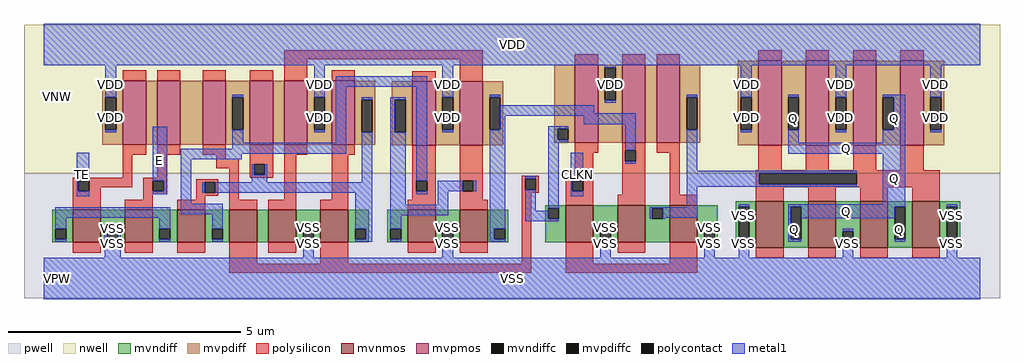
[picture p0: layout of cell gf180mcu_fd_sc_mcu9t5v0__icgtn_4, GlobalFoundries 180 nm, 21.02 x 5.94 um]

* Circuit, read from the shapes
.subckt gf180mcu_fd_sc_mcu9t5v0__icgtn_4 CLKN E TE Q VDD VNW VPW VSS
XM1 VSS TE n1 VPW nfet_06v0 w=0.7u l=0.6u
XM2 n1 E VSS VPW nfet_06v0 w=0.7u l=0.6u
XM3 n2 n3 n1 VPW nfet_06v0 w=0.7u l=0.6u
XM4 n4 n5 n2 VPW nfet_06v0 w=0.7u l=0.6u
XM5 VSS n6 n4 VPW nfet_06v0 w=0.7u l=0.6u
XM6 n3 n5 VSS VPW nfet_06v0 w=0.7u l=0.6u
XM7 VSS n2 n6 VPW nfet_06v0 w=0.7u l=0.6u
XM8 n7 n6 VSS VPW nfet_06v0 w=0.7u l=0.6u
XM9 VSS CLKN n5 VPW nfet_06v0 w=0.8u l=0.6u
XM10 n8 n7 VSS VPW nfet_06v0 w=0.8u l=0.6u
XM11 VSS CLKN n8 VPW nfet_06v0 w=0.8u l=0.6u
XM12 Q n8 VSS VPW nfet_06v0 w=1u l=0.6u m=4
XM13 n9 TE VDD VNW pfet_06v0 w=1.38u l=0.5u
XM14 n10 E n9 VNW pfet_06v0 w=1.38u l=0.5u
XM15 n2 n5 n10 VNW pfet_06v0 w=1.38u l=0.5u
XM16 n11 n3 n2 VNW pfet_06v0 w=1.38u l=0.5u
XM17 VDD n6 n11 VNW pfet_06v0 w=1.38u l=0.5u
XM18 n3 n5 VDD VNW pfet_06v0 w=1.38u l=0.5u
XM19 VDD n2 n6 VNW pfet_06v0 w=1.38u l=0.5u
XM20 n7 n6 VDD VNW pfet_06v0 w=1.38u l=0.5u
XM21 VDD CLKN n5 VNW pfet_06v0 w=1.68u l=0.5u
XM22 n12 n7 VDD VNW pfet_06v0 w=1.68u l=0.5u
XM23 n8 CLKN n12 VNW pfet_06v0 w=1.68u l=0.5u
XM24 Q n8 VDD VNW pfet_06v0 w=1.83u l=0.5u m=4
.ends

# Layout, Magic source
magic
tech gf180mcuD
magscale 1 10
<< nwell >>
rect -86 453 4118 1094
<< pwell >>
rect -86 -86 4118 453
<< mvnmos >>
rect 124 156 244 296
rect 348 156 468 296
rect 575 156 695 296
rect 799 156 919 296
rect 967 156 1087 296
rect 1191 156 1311 296
rect 1567 156 1687 296
rect 1791 156 1911 296
rect 2247 156 2367 316
rect 2471 156 2591 316
rect 2695 156 2815 316
rect 3067 133 3187 333
rect 3291 133 3411 333
rect 3515 133 3635 333
rect 3739 133 3859 333
<< mvpmos >>
rect 340 576 440 852
rect 488 576 588 852
rect 683 576 783 852
rect 887 576 987 852
rect 1035 576 1135 852
rect 1239 576 1339 852
rect 1587 573 1687 849
rect 1791 573 1891 849
rect 2287 585 2387 921
rect 2491 585 2591 921
rect 2639 585 2739 921
rect 3077 573 3177 939
rect 3281 573 3381 939
rect 3485 573 3585 939
rect 3689 573 3789 939
<< mvndiff >>
rect 36 215 124 296
rect 36 169 49 215
rect 95 169 124 215
rect 36 156 124 169
rect 244 215 348 296
rect 244 169 273 215
rect 319 169 348 215
rect 244 156 348 169
rect 468 215 575 296
rect 468 169 497 215
rect 543 169 575 215
rect 468 156 575 169
rect 695 215 799 296
rect 695 169 724 215
rect 770 169 799 215
rect 695 156 799 169
rect 919 156 967 296
rect 1087 215 1191 296
rect 1087 169 1116 215
rect 1162 169 1191 215
rect 1087 156 1191 169
rect 1311 215 1399 296
rect 1311 169 1340 215
rect 1386 169 1399 215
rect 1311 156 1399 169
rect 1479 215 1567 296
rect 1479 169 1492 215
rect 1538 169 1567 215
rect 1479 156 1567 169
rect 1687 215 1791 296
rect 1687 169 1716 215
rect 1762 169 1791 215
rect 1687 156 1791 169
rect 1911 215 1999 296
rect 1911 169 1940 215
rect 1986 169 1999 215
rect 1911 156 1999 169
rect 2159 303 2247 316
rect 2159 257 2172 303
rect 2218 257 2247 303
rect 2159 156 2247 257
rect 2367 215 2471 316
rect 2367 169 2396 215
rect 2442 169 2471 215
rect 2367 156 2471 169
rect 2591 303 2695 316
rect 2591 257 2620 303
rect 2666 257 2695 303
rect 2591 156 2695 257
rect 2815 215 2903 316
rect 2815 169 2844 215
rect 2890 169 2903 215
rect 2815 156 2903 169
rect 2979 309 3067 333
rect 2979 169 2992 309
rect 3038 169 3067 309
rect 2979 133 3067 169
rect 3187 309 3291 333
rect 3187 169 3216 309
rect 3262 169 3291 309
rect 3187 133 3291 169
rect 3411 203 3515 333
rect 3411 157 3440 203
rect 3486 157 3515 203
rect 3411 133 3515 157
rect 3635 309 3739 333
rect 3635 169 3664 309
rect 3710 169 3739 309
rect 3635 133 3739 169
rect 3859 309 3947 333
rect 3859 169 3888 309
rect 3934 169 3947 309
rect 3859 133 3947 169
<< mvpdiff >>
rect 252 781 340 852
rect 252 641 265 781
rect 311 641 340 781
rect 252 576 340 641
rect 440 576 488 852
rect 588 576 683 852
rect 783 781 887 852
rect 783 641 812 781
rect 858 641 887 781
rect 783 576 887 641
rect 987 576 1035 852
rect 1135 781 1239 852
rect 1135 641 1164 781
rect 1210 641 1239 781
rect 1135 576 1239 641
rect 1339 769 1427 852
rect 1339 629 1368 769
rect 1414 629 1427 769
rect 1339 576 1427 629
rect 1499 769 1587 849
rect 1499 629 1512 769
rect 1558 629 1587 769
rect 1499 573 1587 629
rect 1687 781 1791 849
rect 1687 641 1716 781
rect 1762 641 1791 781
rect 1687 573 1791 641
rect 1891 781 1979 849
rect 1891 641 1920 781
rect 1966 641 1979 781
rect 1891 573 1979 641
rect 2199 644 2287 921
rect 2199 598 2212 644
rect 2258 598 2287 644
rect 2199 585 2287 598
rect 2387 908 2491 921
rect 2387 768 2416 908
rect 2462 768 2491 908
rect 2387 585 2491 768
rect 2591 585 2639 921
rect 2739 781 2827 921
rect 2739 641 2768 781
rect 2814 641 2827 781
rect 2739 585 2827 641
rect 2989 781 3077 939
rect 2989 641 3002 781
rect 3048 641 3077 781
rect 2989 573 3077 641
rect 3177 781 3281 939
rect 3177 641 3206 781
rect 3252 641 3281 781
rect 3177 573 3281 641
rect 3381 781 3485 939
rect 3381 641 3410 781
rect 3456 641 3485 781
rect 3381 573 3485 641
rect 3585 781 3689 939
rect 3585 641 3614 781
rect 3660 641 3689 781
rect 3585 573 3689 641
rect 3789 781 3877 939
rect 3789 641 3818 781
rect 3864 641 3877 781
rect 3789 573 3877 641
<< mvndiffc >>
rect 49 169 95 215
rect 273 169 319 215
rect 497 169 543 215
rect 724 169 770 215
rect 1116 169 1162 215
rect 1340 169 1386 215
rect 1492 169 1538 215
rect 1716 169 1762 215
rect 1940 169 1986 215
rect 2172 257 2218 303
rect 2396 169 2442 215
rect 2620 257 2666 303
rect 2844 169 2890 215
rect 2992 169 3038 309
rect 3216 169 3262 309
rect 3440 157 3486 203
rect 3664 169 3710 309
rect 3888 169 3934 309
<< mvpdiffc >>
rect 265 641 311 781
rect 812 641 858 781
rect 1164 641 1210 781
rect 1368 629 1414 769
rect 1512 629 1558 769
rect 1716 641 1762 781
rect 1920 641 1966 781
rect 2212 598 2258 644
rect 2416 768 2462 908
rect 2768 641 2814 781
rect 3002 641 3048 781
rect 3206 641 3252 781
rect 3410 641 3456 781
rect 3614 641 3660 781
rect 3818 641 3864 781
<< polysilicon >>
rect 1035 944 1891 984
rect 340 852 440 896
rect 488 852 588 896
rect 683 852 783 896
rect 887 852 987 896
rect 1035 852 1135 944
rect 1239 852 1339 896
rect 1587 849 1687 893
rect 1791 849 1891 944
rect 2287 921 2387 965
rect 2491 921 2591 965
rect 2639 921 2739 965
rect 3077 939 3177 983
rect 3281 939 3381 983
rect 3485 939 3585 983
rect 3689 939 3789 983
rect 340 532 440 576
rect 488 532 588 576
rect 683 532 783 576
rect 340 434 380 532
rect 488 434 528 532
rect 743 516 783 532
rect 743 476 839 516
rect 124 421 380 434
rect 124 375 148 421
rect 194 394 380 421
rect 428 421 528 434
rect 194 375 244 394
rect 124 296 244 375
rect 428 375 469 421
rect 515 375 528 421
rect 428 362 528 375
rect 655 415 751 428
rect 655 369 692 415
rect 738 369 751 415
rect 428 340 468 362
rect 655 356 751 369
rect 655 340 695 356
rect 348 296 468 340
rect 575 296 695 340
rect 799 340 839 476
rect 887 492 987 576
rect 887 446 905 492
rect 951 446 987 492
rect 887 433 987 446
rect 1035 532 1135 576
rect 1239 532 1339 576
rect 1035 340 1087 532
rect 1239 340 1311 532
rect 1587 421 1687 573
rect 1587 375 1604 421
rect 1650 375 1687 421
rect 1587 340 1687 375
rect 799 296 919 340
rect 967 296 1087 340
rect 1191 296 1311 340
rect 1567 296 1687 340
rect 1791 421 1891 573
rect 2287 541 2387 585
rect 2491 552 2591 585
rect 1791 375 1804 421
rect 1850 375 1891 421
rect 1791 340 1891 375
rect 2059 429 2131 442
rect 2287 434 2367 541
rect 2059 383 2072 429
rect 2118 383 2131 429
rect 2059 370 2131 383
rect 2247 421 2367 434
rect 2247 375 2276 421
rect 2322 375 2367 421
rect 1791 296 1911 340
rect 124 112 244 156
rect 348 112 468 156
rect 575 112 695 156
rect 799 64 919 156
rect 967 112 1087 156
rect 1191 64 1311 156
rect 1567 112 1687 156
rect 1791 112 1911 156
rect 2059 64 2099 370
rect 2247 316 2367 375
rect 2491 506 2504 552
rect 2550 506 2591 552
rect 2639 541 2739 585
rect 2491 360 2591 506
rect 2471 316 2591 360
rect 2695 360 2739 541
rect 3077 466 3177 573
rect 3281 466 3381 573
rect 3485 466 3585 573
rect 3689 466 3789 573
rect 3067 453 3859 466
rect 3067 407 3080 453
rect 3502 407 3859 453
rect 3067 394 3859 407
rect 2695 316 2815 360
rect 3067 333 3187 394
rect 3291 393 3859 394
rect 3291 333 3411 393
rect 3515 333 3635 393
rect 3739 333 3859 393
rect 799 24 2099 64
rect 2247 64 2367 156
rect 2471 112 2591 156
rect 2695 64 2815 156
rect 3067 89 3187 133
rect 3291 89 3411 133
rect 3515 89 3635 133
rect 3739 89 3859 133
rect 2247 24 2815 64
<< polycontact >>
rect 148 375 194 421
rect 469 375 515 421
rect 692 369 738 415
rect 905 446 951 492
rect 1604 375 1650 421
rect 1804 375 1850 421
rect 2072 383 2118 429
rect 2276 375 2322 421
rect 2504 506 2550 552
rect 3080 407 3502 453
<< metal1 >>
rect 0 918 4032 1098
rect 265 781 311 918
rect 812 781 858 792
rect 265 630 311 641
rect 142 421 194 542
rect 142 375 148 421
rect 142 354 194 375
rect 469 421 530 654
rect 812 584 858 641
rect 1164 781 1210 918
rect 1164 630 1210 641
rect 1256 826 1650 872
rect 1256 584 1302 826
rect 812 559 1302 584
rect 515 375 530 421
rect 469 364 530 375
rect 589 538 1302 559
rect 1368 769 1414 780
rect 589 513 853 538
rect 589 323 635 513
rect 894 446 905 492
rect 951 446 962 492
rect 894 415 962 446
rect 1368 415 1414 629
rect 681 369 692 415
rect 738 369 1414 415
rect 49 261 543 307
rect 589 277 770 323
rect 49 215 95 261
rect 497 215 543 261
rect 49 158 95 169
rect 262 169 273 215
rect 319 169 330 215
rect 262 90 330 169
rect 497 158 543 169
rect 724 215 770 277
rect 724 158 770 169
rect 1116 215 1162 226
rect 1116 90 1162 169
rect 1340 215 1414 369
rect 1386 169 1414 215
rect 1340 158 1414 169
rect 1492 769 1558 780
rect 1492 629 1512 769
rect 1492 318 1558 629
rect 1604 421 1650 826
rect 1716 781 1762 918
rect 2416 908 2462 918
rect 1716 630 1762 641
rect 1920 781 1966 792
rect 2416 757 2462 768
rect 2768 781 2814 792
rect 1966 711 2371 747
rect 1966 701 2550 711
rect 1966 641 1986 701
rect 2326 665 2550 701
rect 1604 364 1650 375
rect 1696 375 1804 421
rect 1850 375 1861 421
rect 1696 318 1742 375
rect 1492 272 1742 318
rect 1492 215 1538 272
rect 1492 158 1538 169
rect 1716 215 1762 226
rect 1716 90 1762 169
rect 1920 215 1986 641
rect 2172 644 2258 655
rect 2172 598 2212 644
rect 2172 587 2258 598
rect 2072 429 2118 440
rect 2072 292 2118 383
rect 2172 303 2218 587
rect 2504 552 2550 665
rect 2270 421 2322 542
rect 2504 495 2550 506
rect 2270 375 2276 421
rect 2270 354 2322 375
rect 2768 464 2814 641
rect 3002 781 3048 918
rect 3002 630 3048 641
rect 3206 781 3252 792
rect 3206 584 3252 641
rect 3410 781 3456 918
rect 3410 630 3456 641
rect 3614 781 3710 792
rect 3660 641 3710 781
rect 3614 584 3710 641
rect 3818 781 3864 918
rect 3818 630 3864 641
rect 3206 538 3710 584
rect 2768 453 3502 464
rect 2768 407 3080 453
rect 2768 396 3502 407
rect 2768 307 2814 396
rect 3614 320 3710 538
rect 2072 257 2172 292
rect 2609 303 2814 307
rect 2609 257 2620 303
rect 2666 261 2814 303
rect 2992 309 3038 320
rect 2666 257 2677 261
rect 2072 246 2218 257
rect 1920 169 1940 215
rect 1920 158 1986 169
rect 2396 215 2442 226
rect 2396 90 2442 169
rect 2844 215 2890 226
rect 2844 90 2890 169
rect 2992 90 3038 169
rect 3206 309 3710 320
rect 3206 169 3216 309
rect 3262 260 3664 309
rect 3206 158 3262 169
rect 3440 203 3486 214
rect 3664 158 3710 169
rect 3888 309 3934 320
rect 3440 90 3486 157
rect 3888 90 3934 169
rect 0 -90 4032 90
<< labels >>
flabel metal1 s 2270 354 2322 542 0 FreeSans 200 0 0 0 CLKN
port 1 nsew clock input
flabel metal1 s 469 364 530 654 0 FreeSans 200 0 0 0 E
port 2 nsew default input
flabel metal1 s 3614 584 3710 792 0 FreeSans 200 0 0 0 Q
port 4 nsew default output
flabel metal1 s 142 354 194 542 0 FreeSans 200 0 0 0 TE
port 3 nsew default input
flabel metal1 s 0 918 4032 1098 0 FreeSans 200 0 0 0 VDD
port 5 nsew power bidirectional abutment
flabel metal1 s 3888 226 3934 320 0 FreeSans 200 0 0 0 VSS
port 8 nsew ground bidirectional abutment
flabel nwell s 10 734 110 834 0 FreeSans 400 0 0 0 VNW
port 6 nsew power bidirectional
flabel pwell s 10 -50 110 50 0 FreeSans 400 0 0 0 VPW
port 7 nsew ground bidirectional
rlabel metal1 s 3206 584 3252 792 1 Q
port 4 nsew default output
rlabel metal1 s 3206 538 3710 584 1 Q
port 4 nsew default output
rlabel metal1 s 3614 320 3710 538 1 Q
port 4 nsew default output
rlabel metal1 s 3206 260 3710 320 1 Q
port 4 nsew default output
rlabel metal1 s 3664 158 3710 260 1 Q
port 4 nsew default output
rlabel metal1 s 3206 158 3262 260 1 Q
port 4 nsew default output
rlabel metal1 s 3818 757 3864 918 1 VDD
port 5 nsew power bidirectional abutment
rlabel metal1 s 3410 757 3456 918 1 VDD
port 5 nsew power bidirectional abutment
rlabel metal1 s 3002 757 3048 918 1 VDD
port 5 nsew power bidirectional abutment
rlabel metal1 s 2416 757 2462 918 1 VDD
port 5 nsew power bidirectional abutment
rlabel metal1 s 1716 757 1762 918 1 VDD
port 5 nsew power bidirectional abutment
rlabel metal1 s 1164 757 1210 918 1 VDD
port 5 nsew power bidirectional abutment
rlabel metal1 s 265 757 311 918 1 VDD
port 5 nsew power bidirectional abutment
rlabel metal1 s 3818 630 3864 757 1 VDD
port 5 nsew power bidirectional abutment
rlabel metal1 s 3410 630 3456 757 1 VDD
port 5 nsew power bidirectional abutment
rlabel metal1 s 3002 630 3048 757 1 VDD
port 5 nsew power bidirectional abutment
rlabel metal1 s 1716 630 1762 757 1 VDD
port 5 nsew power bidirectional abutment
rlabel metal1 s 1164 630 1210 757 1 VDD
port 5 nsew power bidirectional abutment
rlabel metal1 s 265 630 311 757 1 VDD
port 5 nsew power bidirectional abutment
rlabel metal1 s 2992 226 3038 320 1 VSS
port 8 nsew ground bidirectional abutment
rlabel metal1 s 3888 215 3934 226 1 VSS
port 8 nsew ground bidirectional abutment
rlabel metal1 s 2992 215 3038 226 1 VSS
port 8 nsew ground bidirectional abutment
rlabel metal1 s 2844 215 2890 226 1 VSS
port 8 nsew ground bidirectional abutment
rlabel metal1 s 2396 215 2442 226 1 VSS
port 8 nsew ground bidirectional abutment
rlabel metal1 s 1716 215 1762 226 1 VSS
port 8 nsew ground bidirectional abutment
rlabel metal1 s 1116 215 1162 226 1 VSS
port 8 nsew ground bidirectional abutment
rlabel metal1 s 3888 214 3934 215 1 VSS
port 8 nsew ground bidirectional abutment
rlabel metal1 s 2992 214 3038 215 1 VSS
port 8 nsew ground bidirectional abutment
rlabel metal1 s 2844 214 2890 215 1 VSS
port 8 nsew ground bidirectional abutment
rlabel metal1 s 2396 214 2442 215 1 VSS
port 8 nsew ground bidirectional abutment
rlabel metal1 s 1716 214 1762 215 1 VSS
port 8 nsew ground bidirectional abutment
rlabel metal1 s 1116 214 1162 215 1 VSS
port 8 nsew ground bidirectional abutment
rlabel metal1 s 262 214 330 215 1 VSS
port 8 nsew ground bidirectional abutment
rlabel metal1 s 3888 90 3934 214 1 VSS
port 8 nsew ground bidirectional abutment
rlabel metal1 s 3440 90 3486 214 1 VSS
port 8 nsew ground bidirectional abutment
rlabel metal1 s 2992 90 3038 214 1 VSS
port 8 nsew ground bidirectional abutment
rlabel metal1 s 2844 90 2890 214 1 VSS
port 8 nsew ground bidirectional abutment
rlabel metal1 s 2396 90 2442 214 1 VSS
port 8 nsew ground bidirectional abutment
rlabel metal1 s 1716 90 1762 214 1 VSS
port 8 nsew ground bidirectional abutment
rlabel metal1 s 1116 90 1162 214 1 VSS
port 8 nsew ground bidirectional abutment
rlabel metal1 s 262 90 330 214 1 VSS
port 8 nsew ground bidirectional abutment
rlabel metal1 s 0 -90 4032 90 1 VSS
port 8 nsew ground bidirectional abutment
<< properties >>
string FIXED_BBOX 0 0 4032 1008
string GDS_END 845240
string GDS_FILE $PDKPATH/libs.ref/gf180mcu_fd_sc_mcu9t5v0/gds/gf180mcu_fd_sc_mcu9t5v0.gds
string GDS_START 835988
string LEFclass core
string LEFsite GF018hv5v_green_sc9
string LEFsymmetry X Y
<< end >>
